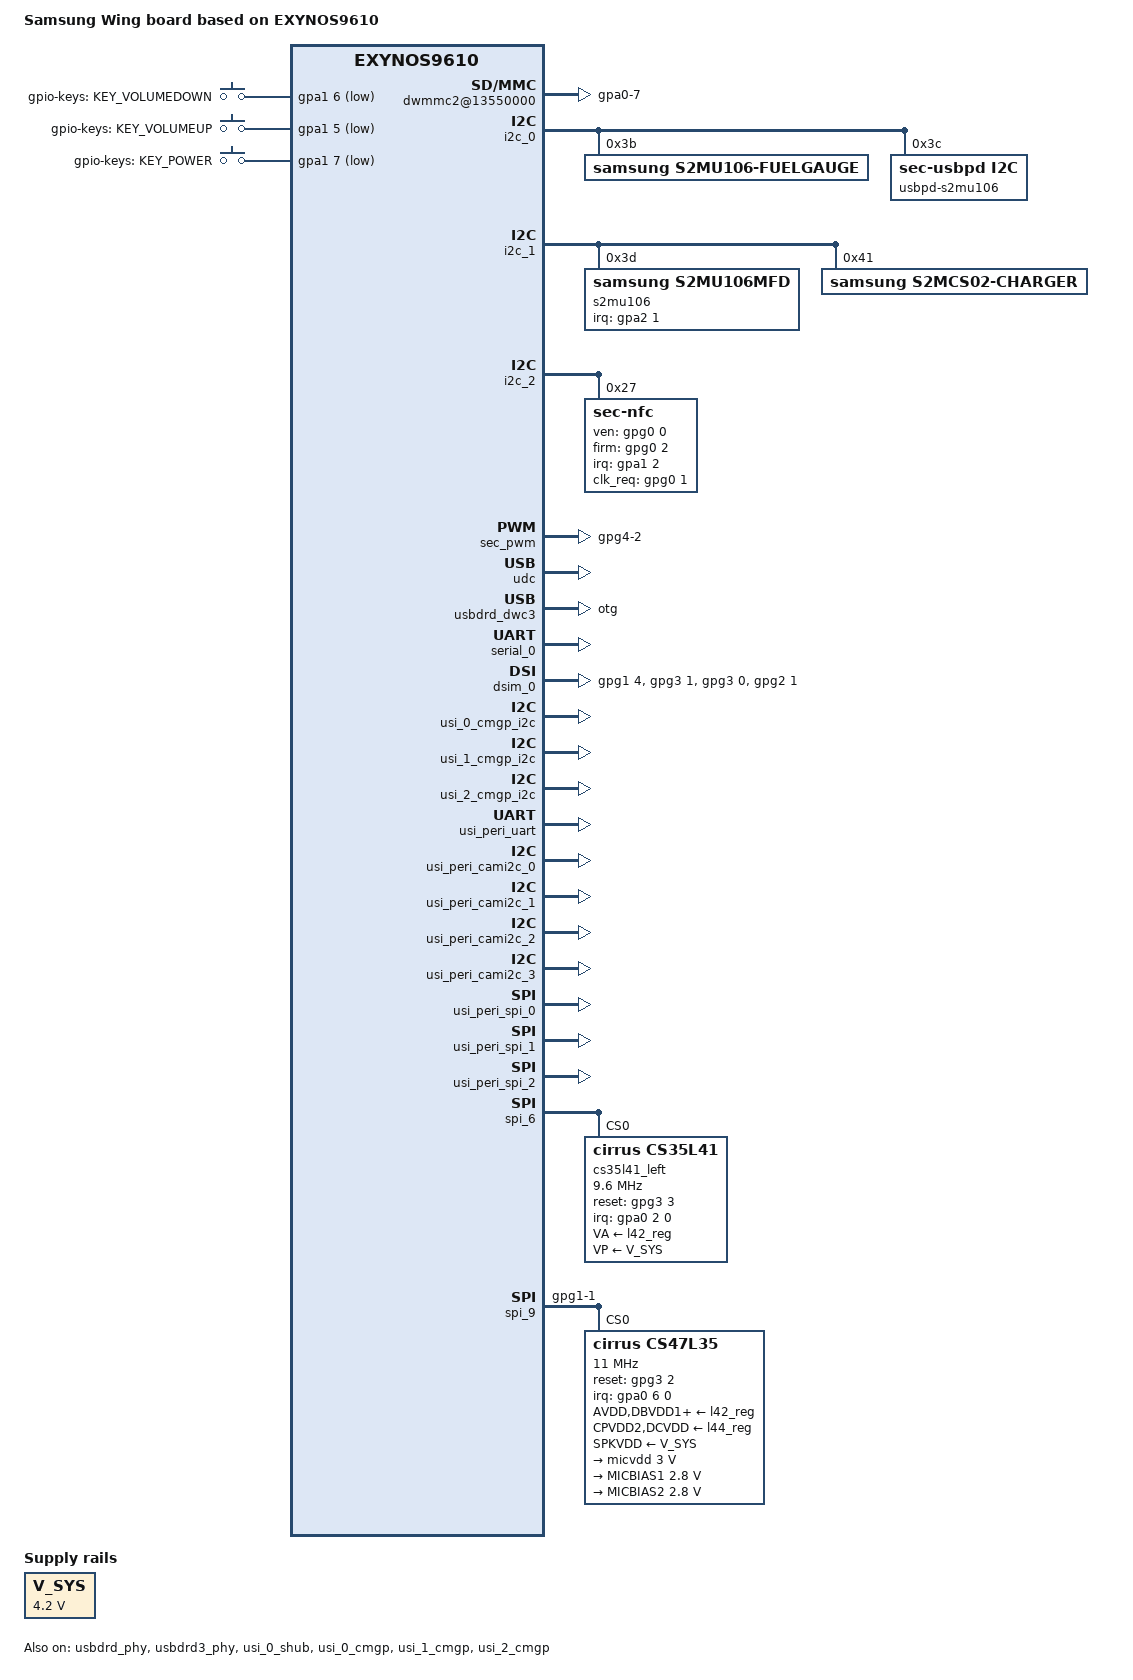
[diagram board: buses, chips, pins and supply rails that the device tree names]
/*
 * SAMSUNG EXYNOS9610 board device tree source
 *
 * Copyright (c) 2017 Samsung Electronics Co., Ltd.
 *		http://www.samsung.com
 *
 * This program is free software; you can redistribute it and/or modify
 * it under the terms of the GNU General Public License version 2 as
 * published by the Free Software Foundation.
 */

/dts-v1/;
/plugin/;

#include "exynos9610_battery_data.dtsi"
#include <dt-bindings/clock/exynos9610.h>
#include "modem-ss360ap-sit-pdata.dtsi"
#include "exynos9610-display-lcd.dtsi"
#include "novatek-nt36xxx-i2c.dtsi"
#include "wing-sensor.dtsi"

/ {
	compatible = "samsung,exynos9610", "samsung,WING";
	board_id = <0x0>;
	board_rev = <0x0>;

	fragment@model {
		target-path = "/";
		__overlay__ {
			#address-cells = <2>;
			#size-cells = <1>;
			model = "Samsung Wing board based on EXYNOS9610";

			ect {
				parameter_address = <0x90000000>;
				parameter_size = <0x19000>;
			};

			chosen {
				bootargs = "console=ram skip_initramfs rootwait ro init=/init clk_ignore_unused bcm_setup=0xffffff80f8e00000 androidboot.hardware=exynos9610 androidboot.selinux=permissive androidboot.debug_level=0x4948 firmware_class.path=/vendor/firmware ecd_setup=disable reserve-fimc=0xffffff80fa000000 pmic_info=0x3 ccic_info=0x1 epx_activate=true ";
				linux,initrd-start = <0x84000000>;
				linux,initrd-end = <0x841FFFFF>;
			};

			fixed-rate-clocks {
				oscclk {
					compatible = "samsung,exynos9610-oscclk";
					clock-frequency = <26000000>;
				};
			};

			firmware {
				android {
					compatible = "android,firmware";
					vbmeta {
						compatible = "android,vbmeta";
						parts = "vbmeta,boot,system,vendor";
					};
					fstab {
						compatible = "android,fstab";
						vendor {
							compatible = "android,vendor";
							dev = "/dev/block/platform/13520000.ufs/by-name/vendor";
							type = "ext4";
							mnt_flags = "ro";
							fsmgr_flags = "wait,avb,slotselect";
						};
					};
				};
			};

			ifconn {
				status = "okay";
				compatible = "samsung,ifconn";
				ifconn,usbpd = "s2mm005";
				ifconn,muic = "s2mu106-muic";
			};

			/*Fingerprint start*/
			et320: et320{
				compatible = "egistec,et320";
				status = "ok";
				reg = <0>;
				clocks = <&clock GATE_SPI_1_QCH>, <&clock SPI1>;
				clock-names = "spi", "spi_busclk0";
				pinctrl-names = "default";
				pinctrl-0 = <&spi7_bus &spi7_cs_func>;
				egistec,gpio_irq    = <&gpa0 5 0>;
				egistec,gpio_rst    = <&gpa1 1 0>;
			};
			/*Fingerprint end*/

			speedy@11a10000 {
				status = "okay";
				#address-cells = <1>;
				#size-cells = <0>;
				s2mpu09mfd@00 {
					compatible = "samsung,s2mpu09mfd";
					acpm-ipc-channel = <2>;
					i2c-speedy-address;
					s2mpu09,wakeup = "enabled";
					s2mpu09,irq-gpio = <&gpa2 0 0>;
					reg = <0x00>;
					interrupts = <2 0 0>;
					interrupt-parent = <&gpa2>;
					pinctrl-names = "default";
					pinctrl-0 = <&pmic_irq &pm_wrsti>;
					/* RTC: wtsr/smpl */
					wtsr_en = "enabled"; /* enable */
					smpl_en = "enabled"; /* enable */
					wtsr_timer_val = <3>;	/* 1000ms */
					smpl_timer_val = <4>;	/* 500ms */
					check_jigon = <0>; /* do not check jigon */
					/* RTC: If it's first boot, reset rtc to 1/1/2017 12:00:00(Sun) */
					init_time,sec = <0>;
					init_time,min = <0>;
					init_time,hour = <12>;
					init_time,mday = <1>;
					init_time,mon = <0>;
					init_time,year = <117>;
					init_time,wday = <0>;

					regulators {
						b1_reg: BUCK1 {
							regulator-name = "vdd_mif";
							regulator-min-microvolt = <500000>;
							regulator-max-microvolt = <1100000>;
							regulator-always-on;
							regulator-ramp-delay = <12000>;
							regulator-initial-mode = <2>;
						};

						b2_reg: BUCK2 {
							regulator-name = "vdd_cpucl1";
							regulator-min-microvolt = <500000>;
							regulator-max-microvolt = <1300000>;
							regulator-always-on;
							regulator-ramp-delay = <12000>;
							regulator-initial-mode = <1>;
						};

						b3_reg: BUCK3 {
							regulator-name = "vdd_cpucl0";
							regulator-min-microvolt = <500000>;
							regulator-max-microvolt = <1300000>;
							regulator-always-on;
							regulator-ramp-delay = <12000>;
							regulator-initial-mode = <1>;
						};

						b4_reg: BUCK4{
							regulator-name = "vdd_int";
							regulator-min-microvolt = <500000>;
							regulator-max-microvolt = <1100000>;
							regulator-always-on;
							regulator-ramp-delay = <12000>;
							regulator-initial-mode = <2>;
						};

						b5_reg: BUCK5 {
							regulator-name = "vdd_g3d";
							regulator-min-microvolt = <500000>;
							regulator-max-microvolt = <1200000>;
							regulator-always-on;
							regulator-ramp-delay = <12000>;
							regulator-initial-mode = <2>;
						};

						b6_reg: BUCK6 {
							regulator-name = "vdd_cam_vipx";
							regulator-min-microvolt = <500000>;
							regulator-max-microvolt = <1300000>;
							regulator-always-on;
							regulator-ramp-delay = <12000>;
							regulator-initial-mode = <2>;
						};

						b7_reg: BUCK7 {
							regulator-name = "vdd2_mem";
							regulator-min-microvolt = <500000>;
							regulator-max-microvolt = <1300000>;
							regulator-always-on;
							regulator-ramp-delay = <12000>;
							regulator-initial-mode = <3>;
						};

						b8_reg: BUCK8 {
							regulator-name = "vdd_lldo";
							regulator-min-microvolt = <1200000>;
							regulator-max-microvolt = <1500000>;
							regulator-always-on;
							regulator-ramp-delay = <12000>;
							regulator-initial-mode = <3>;
						};

						b9_reg: BUCK9 {
							regulator-name = "vdd_mldo";
							regulator-min-microvolt = <1800000>;
							regulator-max-microvolt = <2100000>;
							regulator-always-on;
							regulator-ramp-delay = <12000>;
							regulator-initial-mode = <3>;
						};

						l1_reg: LDO1 {
							regulator-name = "vdd_ldo1";
							regulator-min-microvolt = <700000>;
							regulator-max-microvolt = <1300000>;
							regulator-always-on;
							regulator-ramp-delay = <12000>;
							regulator-initial-mode = <3>;
						};

						l2_reg: LDO2 {
							regulator-name = "vqmmc";
							regulator-min-microvolt = <1800000>;
							regulator-max-microvolt = <3375000>;
							regulator-ramp-delay = <12000>;
						};

						l3_reg: LDO3 {
							regulator-name = "vdd_ldo3";
							regulator-min-microvolt = <800000>;
							regulator-max-microvolt = <1950000>;
							regulator-always-on;
							regulator-ramp-delay = <12000>;
							regulator-initial-mode = <3>;
						};

						l4_reg: LDO4 {
							regulator-name = "vdd_ldo4";
							regulator-min-microvolt = <500000>;
							regulator-max-microvolt = <1100000>;
							regulator-always-on;
							regulator-ramp-delay = <12000>;
							regulator-initial-mode = <1>;
						};

						l5_reg: LDO5 {
							regulator-name = "vdd_ldo5";
							regulator-min-microvolt = <800000>;
							regulator-max-microvolt = <1300000>;
							regulator-always-on;
							regulator-ramp-delay = <12000>;
							regulator-initial-mode = <1>;
						};

						l6_reg: LDO6 {
							regulator-name = "vdd_ldo6";
							regulator-min-microvolt = <800000>;
							regulator-max-microvolt = <1300000>;
							regulator-always-on;
							regulator-ramp-delay = <12000>;
							regulator-initial-mode = <1>;
						};

						l7_reg: LDO7 {
							regulator-name = "vdd_ldo7";
							regulator-min-microvolt = <800000>;
							regulator-max-microvolt = <1950000>;
							regulator-always-on;
							regulator-ramp-delay = <12000>;
							regulator-initial-mode = <1>;
						};

						l8_reg: LDO8 {
							regulator-name = "vdd_ldo8";
							regulator-min-microvolt = <500000>;
							regulator-max-microvolt = <1300000>;
							regulator-always-on;
							regulator-ramp-delay = <12000>;
							regulator-initial-mode = <1>;
						};

						l9_reg: LDO9 {
							regulator-name = "vdd_ldo9";
							regulator-min-microvolt = <500000>;
							regulator-max-microvolt = <1300000>;
							regulator-always-on;
							regulator-ramp-delay = <12000>;
							regulator-initial-mode = <1>;
						};

						l10_reg: LDO10 {
							regulator-name = "vdd_ldo10";
							regulator-min-microvolt = <500000>;
							regulator-max-microvolt = <1300000>;
							regulator-always-on;
							regulator-ramp-delay = <12000>;
							regulator-initial-mode = <1>;
						};

						l11_reg: LDO11 {
							regulator-name = "vdd_ldo11";
							regulator-min-microvolt = <500000>;
							regulator-max-microvolt = <1300000>;
							regulator-always-on;
							regulator-ramp-delay = <12000>;
							regulator-initial-mode = <1>;
						};

						l12_reg: LDO12 {
							regulator-name = "vdd_ldo12";
							regulator-min-microvolt = <800000>;
							regulator-max-microvolt = <1300000>;
							regulator-always-on;
							regulator-ramp-delay = <12000>;
							regulator-initial-mode = <1>;
						};

						l13_reg: LDO13 {
							regulator-name = "vdd_ldo13";
							regulator-min-microvolt = <800000>;
							regulator-max-microvolt = <1950000>;
							regulator-always-on;
							regulator-ramp-delay = <12000>;
							regulator-initial-mode = <1>;
						};

						l14_reg: LDO14 {
							regulator-name = "vdd_ldo14";
							regulator-min-microvolt = <1800000>;
							regulator-max-microvolt = <3375000>;
							regulator-always-on;
							regulator-ramp-delay = <12000>;
							regulator-initial-mode = <1>;
						};

						l33_reg: LDO33 {
							regulator-name = "vdd_ldo33";
							regulator-min-microvolt = <800000>;
							regulator-max-microvolt = <1950000>;
							regulator-ramp-delay = <12000>;
						};

						l34_reg: LDO34 {
							regulator-name = "vdd_ldo34";
							regulator-min-microvolt = <1800000>;
							regulator-max-microvolt = <3375000>;
							regulator-ramp-delay = <12000>;
						};

						l35_reg: LDO35 {
							regulator-name = "vmmc";
							regulator-min-microvolt = <1800000>;
							regulator-max-microvolt = <3375000>;
							regulator-ramp-delay = <12000>;
						};

						l36_reg: LDO36 {
							regulator-name = "vdd_ldo36";
							regulator-min-microvolt = <500000>;
							regulator-max-microvolt = <1300000>;
							regulator-always-on;
							regulator-ramp-delay = <12000>;
							regulator-initial-mode = <1>;
						};

						l37_reg: LDO37 {
						        regulator-name = "vdd_ldo37";
					                regulator-min-microvolt = <3300000>;
					                regulator-max-microvolt = <3300000>;
					                regulator-ramp-delay = <12000>;
					                regulator-always-on;
						};

						l38_reg: LDO38 {
							regulator-name = "vdd_ldo38";
							regulator-min-microvolt = <1800000>;
							regulator-max-microvolt = <3375000>;
							regulator-ramp-delay = <12000>;
							regulator-always-on;
						};

						l39_reg: LDO39 {
							regulator-name = "vdd_ldo39";
							regulator-min-microvolt = <800000>;
							regulator-max-microvolt = <1950000>;
							regulator-ramp-delay = <12000>;
							regulator-always-on;
						};

						l40_reg: LDO40 {
							regulator-name = "vdd_ldo40";
							regulator-min-microvolt = <1800000>;
							regulator-max-microvolt = <3375000>;
							regulator-ramp-delay = <12000>;
							regulator-initial-mode = <3>;
							regulator-always-on;
						};

						l41_reg: LDO41 {
							regulator-name = "vdd_ldo41";
							regulator-min-microvolt = <1800000>;
							regulator-max-microvolt = <3375000>;
							regulator-ramp-delay = <12000>;
						};

						l42_reg: LDO42 {
							regulator-name = "vdd_ldo42";
							regulator-min-microvolt = <800000>;
							regulator-max-microvolt = <1950000>;
							regulator-ramp-delay = <12000>;
							regulator-always-on;
						};

						l43_reg: LDO43 {
							regulator-name = "vdd_ldo43";
							regulator-min-microvolt = <500000>;
							regulator-max-microvolt = <1300000>;
							regulator-always-on;
							regulator-ramp-delay = <12000>;
							regulator-initial-mode = <1>;
						};

						l44_reg: LDO44 {
							regulator-name = "vdd_ldo44";
							regulator-min-microvolt = <800000>;
							regulator-max-microvolt = <1300000>;
							regulator-ramp-delay = <12000>;
							regulator-always-on;
						};
					};
				};
			};


			exynos_rgt {
				compatible = "samsung,exynos-rgt";
			};

			mailbox_cp: mcu_ipc@11920000 {
				compatible = "samsung,exynos-shd-ipc-mailbox";
				reg = <0x0 0x11920000 0x180>;
				mcu,name = "mcu_ipc_cp";
				mcu,id = <0>;
				interrupts = <0 40 0 >;
			};

			mailbox_gnss: mcu_ipc@11A00000 {
				compatible = "samsung,exynos-shd-ipc-mailbox";
				reg = <0x0 0x11A00000 0x180>;
				mcu,name = "mcu_ipc_gnss";
				mcu,id = <1>;
				interrupts = <0 43 0>; /* INTREQ__MAILBOX_GNSS2AP */
			};

			gnss_pdata {
				status = "okay";

				compatible = "samsung,gnss_shdmem_if";
				shmem,name = "KEPLER";
				shmem,device_node_name = "gnss_ipc";

				/* INTREQ__ALIVE_GNSS_ACTIVE, INTREQ__GNSS2AP_WDOG_RESET, INTREQ__GNSS2AP_WAKEUP, INTREQ__GNSS2AP */
				interrupts = <0 27 0>, <0 81 0>, <0 80 0>, <0 79 0>;
				interrupt-names = "ACTIVE", "WATCHDOG", "WAKEUP", "REQ_INIT";

				memory-region = <&gnss_reserved>;
				mbox_info = <&mailbox_gnss>;

				mbx,int_ap2gnss_bcmd = <0>;
				mbx,int_ap2gnss_req_fault_info = <1>;
				mbx,int_ap2gnss_ipc_msg = <2>;
				mbx,int_ap2gnss_ack_wake_set = <3>;
				mbx,int_ap2gnss_ack_wake_clr = <4>;

				mbx,irq_gnss2ap_bcmd = <0>;
				mbx,irq_gnss2ap_rsp_fault_info = <1>;
				mbx,irq_gnss2ap_ipc_msg = <2>;
				mbx,irq_gnss2ap_req_wake_clr = <4>;

				mbx,reg_bcmd_ctrl = <0>, <1>, <2>, <3>;

				reg_rx_ipc_msg = <1 5>;
				reg_tx_ipc_msg = <1 4>;
				reg_rx_head = <1 3>;
				reg_rx_tail = <1 2>;
				reg_tx_head = <1 1>;
				reg_tx_tail = <1 0>;
				fault_info = <1 0x200000 0x180000>;

				shmem,ipc_offset = <0x380000>;
				shmem,ipc_size = <0x80000>;
				shmem,ipc_reg_cnt = <32>;
			};

			gpio_keys {
				status = "okay";
				compatible = "gpio-keys";
				#address-cells = <1>;
				#size-cells = <0>;
				pinctrl-names = "default";
				pinctrl-0 = <&key_voldown &key_volup &key_power>;
				button@1 {
					label = "gpio-keys: KEY_VOLUMEDOWN";
					linux,code = <114>;
					gpios = <&gpa1 6 0xf>;
				};
				button@2 {
					label = "gpio-keys: KEY_VOLUMEUP";
					linux,code = <115>;
					gpios = <&gpa1 5 0xf>;
				};
				button@3 {
					label = "gpio-keys: KEY_POWER";
					linux,code = <116>;
					gpios = <&gpa1 7 0xf>;
					gpio-key,wakeup = <1>;
				};
			};

			dwmmc2@13550000 {
				status = "okay";
				num-slots = <1>;
				supports-4bit;
				supports-cmd23;
				supports-erase;
				supports-highspeed;
				sd-uhs-sdr50;
				sd-uhs-sdr104;
				card-detect-invert;
				card-detect-gpio;
				bypass-for-allpass;
				card-init-hwacg-ctrl;
				skip-init-mmc-scan;
				qos-dvfs-level = <100000>;
				fifo-depth = <0x40>;
				desc-size = <4>;
				card-detect-delay = <200>;
				data-timeout = <200>;
				hto-timeout = <80>;
				samsung,dw-mshc-ciu-div = <3>;
				clock-frequency = <800000000>;
				samsung,dw-mshc-sdr-timing = <3 0 2 0>;
				samsung,dw-mshc-ddr-timing = <3 0 2 1>;
				samsung,dw-mshc-sdr50-timing = <3 0 4 2>;
				samsung,dw-mshc-sdr104-timing = <3 0 3 0>;

				num-ref-clks = <9>;
				ciu_clkin = <25 50 50 25 50 100 200 50 50>;

				/* Swapping clock drive strength */
				clk-drive-number = <4>;
				pinctrl-names = "default",
					"fast-slew-rate-1x",
					"fast-slew-rate-2x",
					"fast-slew-rate-3x",
					"fast-slew-rate-4x";
				pinctrl-0 = <&sd2_clk &sd2_cmd &sd2_bus1 &sd2_bus4 &dwmmc2_cd_ext_irq>;
				pinctrl-1 = <&sd2_clk_fast_slew_rate_1x>;
				pinctrl-2 = <&sd2_clk_fast_slew_rate_2x>;
				pinctrl-3 = <&sd2_clk_fast_slew_rate_3x>;
				pinctrl-4 = <&sd2_clk_fast_slew_rate_4x>;

				card-detect = <&gpa0 7 0xf>;
				#address-cells = <1>;
				#size-cells = <0>;
				slot@0 {
					reg = <0>;
					bus-width = <4>;
					disable-wp;
				};
			};

			usb_notifier {
				compatible = "samsung,usb-notifier";
				udc = <&udc>;
			};

			usb_hs_tune:usb_hs_tune {
				hs_tune_cnt = <12>;

				/* value = <device host> */
				hs_tune1 {
					tune_name = "tx_vref";
					tune_value = <0xf 0xf>;
				};

				hs_tune2 {
					tune_name = "tx_pre_emp";
					tune_value = <0x3 0x3>;
				};

				hs_tune3 {
					tune_name = "tx_pre_emp_plus";
					tune_value = <0x0 0x0>;
				};

				hs_tune4 {
					tune_name = "tx_res";
					tune_value = <0x3 0x3>;
				};

				hs_tune5 {
					tune_name = "tx_rise";
					tune_value = <0x3 0x3>;
				};

				hs_tune6 {
					tune_name = "tx_hsxv";
					tune_value = <0x3 0x3>;
				};

				hs_tune7 {
					tune_name = "tx_fsls";
					tune_value = <0x3 0x3>;
				};

				hs_tune8 {
					tune_name = "rx_sqrx";
					tune_value = <0x7 0x7>;
				};

				hs_tune9 {
					tune_name = "compdis";
					tune_value = <0x7 0x7>;
				};

				hs_tune10 {
					tune_name = "otg";
					tune_value = <0x2 0x2>;
				};

				hs_tune11 {
				/* true : 1, false: 0 */
				/* <enable_user_imp user_imp_value> */
					tune_name = "enable_user_imp";
					tune_value = <0x0 0x0>;
				};

				hs_tune12 {
				/* PHY clk : 1 , FREE clk : 0 */
					tune_name = "is_phyclock";
					tune_value = <0x1 0x1>;
				};
			};

			usb3_ss_tune:ss_tune {
				ss_tune_cnt = <15>;

				/* value = <device host> */
				ss_tune1 {
					tune_name = "tx0_term_offset";
					tune_value = <0x0 0x0>;
				};

				ss_tune2 {
					tune_name = "pcs_tx_swing_full";
					tune_value = <0x7f 0x7f>;
				};

				ss_tune3 {
					tune_name = "pcs_tx_deemph_6db";
					tune_value = <0x1c 0x1c>;
				};

				ss_tune4 {
					tune_name = "pcs_tx_deemph_3p5db";
					tune_value = <0x1c 0x1c>;
				};

				ss_tune5 {
					tune_name = "tx_vboost_lvl_sstx";
					tune_value = <0x7 0x7>;
				};

				ss_tune6 {
					tune_name = "tx_vboost_lvl";
					tune_value = <0x4 0x4>;
				};

				ss_tune7 {
					tune_name = "los_level";
					tune_value = <0x9 0x9>;
				};

				ss_tune8 {
					tune_name = "los_bias";
					tune_value = <0x5 0x5>;
				};

				ss_tune9 {
					tune_name = "pcs_rx_los_mask_val";
					tune_value = <0x104 0x104>;
				};

				ss_tune10 {
					tune_name = "tx_eye_height_cntl_en";
					tune_value = <0x1 0x1>;
				};

				ss_tune11 {
					tune_name = "pipe_tx_deemph_update_delay";
					tune_value = <0x2 0x2>;
				};

				ss_tune12 {
					tune_name = "pcs_tx_swing_full_sstx";
					tune_value = <0x7f 0x7f>;
				};
				ss_tune13 {
					tune_name = "rx_eq_fix_val";
					tune_value = <0x2 0x2>;
				};

				ss_tune14 {
					tune_name = "rx_decode_mode";
					tune_value = <0x1 0x1>;
				};

				ss_tune15 {
					tune_name = "decrese_ss_tx_imp";
					tune_value = <0x1 0x1>;
				};
			};

			usb3_hs_tune:usb3_hs_tune {
				hs_tune_cnt = <10>;

				/* value = <device host> */
				hs_tune1 {
					tune_name = "tx_pre_emp";
					tune_value = <0x3 0x3>;
				};

				hs_tune2 {
					tune_name = "tx_pre_emp_plus";
					tune_value = <0x0 0x0>;
				};

				hs_tune3 {
					tune_name = "tx_vref";
					tune_value = <0x7 0x7>;
				};

				hs_tune4 {
					tune_name = "rx_sqrx";
					tune_value = <0x7 0x7>;
				};

				hs_tune5 {
					tune_name = "tx_rise";
					tune_value = <0x3 0x3>;
				};

				hs_tune6 {
					tune_name = "compdis";
					tune_value = <0x7 0x7>;
				};

				hs_tune7 {
					tune_name = "tx_hsxv";
					tune_value = <0x3 0x3>;
				};

				hs_tune8 {
					tune_name = "tx_fsls";
					tune_value = <0x3 0x3>;
				};

				hs_tune9 {
					tune_name = "tx_res";
					tune_value = <0x3 0x3>;
				};

				hs_tune10 {
					tune_name = "utim_clk";
					tune_value = <0x1 0x1>;
				};
			};

			/* Secure RPMB */
			ufs-srpmb {
				compatible = "samsung,ufs-srpmb";
				interrupts = <0 460 0>;
			};

			V_SYS: fixedregulator@0 {
				compatible = "regulator-fixed";
				regulator-name = "V_SYS";
				regulator-min-microvolt = <4200000>;
				regulator-max-microvolt = <4200000>;
				regulator-boot-on;
				regulator-always-on;
			};


			dummy_audio_codec: audio_codec_dummy {
				status = "okay";
				compatible = "snd-soc-dummy";
			};

			dummy_audio_cpu: audio_cpu_dummy {
				compatible = "samsung,dummy-cpu";
				status = "okay";
			};

			sound {
				status = "okay";
				compatible = "samsung,exynos9610-madera";

				clock-names = "xclkout";
				clocks = <&clock OSC_AUD>;
				pinctrl-names = "default";
				pinctrl-0 = <&xclkout0>;

				cirrus,sysclk = <1 4 98304000>;
				cirrus,dspclk = <8 4 147456000>;
				cirrus,fll1-refclk = <1 0 26000000 98304000>;

				cirrus,opclk = <3 0 12288000>;

				samsung,routing =
					"HEADSETMIC", "MICBIAS1B",
					"IN1BR", "HEADSETMIC",
					"DMIC1", "MICBIAS2A",
					"IN1AL", "DMIC1",
					"DMIC2", "MICBIAS2A",
					"IN2L", "DMIC2",
					"DMIC3", "MICBIAS2B",
					"IN2R", "DMIC3",
					"RECEIVER", "EPOUTN",
					"RECEIVER", "EPOUTP",
					"HEADPHONE", "HPOUTL",
					"HEADPHONE", "HPOUTR",
					"AIF2 Playback", "OPCLK",
					"AIF2 Capture", "OPCLK",
					"VOUTPUT", "ABOX UAIF0 Playback",
					"SPEAKER", "Left SPK",
					"VOUTPUTCALL", "ABOX SIFS0 Playback",
					"ABOX SIFS0 Capture", "VINPUTCALL";

				samsung,codec = <&abox &abox_uaif_0 &abox_uaif_1 &abox_uaif_2
					&abox_uaif_4 &abox_dsif &abox_spdy &cs35l41_left>;
				samsung,prefix = "ABOX", "ABOX", "ABOX", "ABOX",
					"ABOX", "ABOX", "ABOX", "SPK";
				samsung,aux = <&abox_effect &abox_bt>;

				rdma@0 {
					cpu {
						sound-dai = <&abox 0>;
					};
					platform {
						sound-dai = <&abox_rdma_0>;
					};
					codec {
						sound-dai = <&dummy_audio_codec>;
					};
				};
				rdma@1 {
					cpu {
						sound-dai = <&abox 1>;
					};
					platform {
						sound-dai = <&abox_rdma_1>;
					};
					codec {
						sound-dai = <&dummy_audio_codec>;
					};
				};
				rdma@2 {
					cpu {
						sound-dai = <&abox 2>;
					};
					platform {
						sound-dai = <&abox_rdma_2>;
					};
					codec {
						sound-dai = <&dummy_audio_codec>;
					};
				};
				rdma@3 {
					cpu {
						sound-dai = <&abox 3>;
					};
					platform {
						sound-dai = <&abox_rdma_3>;
					};
					codec {
						sound-dai = <&dummy_audio_codec>;
					};
				};
				rdma@4 {
					cpu {
						sound-dai = <&abox 4>;
					};
					platform {
						sound-dai = <&abox_rdma_4>;
					};
					codec {
						sound-dai = <&dummy_audio_codec>;
					};
				};
				rdma@5 {
					cpu {
						sound-dai = <&abox 5>;
					};
					platform {
						sound-dai = <&abox_rdma_5>;
					};
					codec {
						sound-dai = <&dummy_audio_codec>;
					};
				};
				rdma@6 {
					cpu {
						sound-dai = <&abox 6>;
					};
					platform {
						sound-dai = <&abox_rdma_6>;
					};
					codec {
						sound-dai = <&dummy_audio_codec>;
					};
				};
				rdma@7 {
					cpu {
						sound-dai = <&abox 7>;
					};
					platform {
						sound-dai = <&abox_rdma_7>;
					};
					codec {
						sound-dai = <&dummy_audio_codec>;
					};
				};
				wdma@0 {
					cpu {
						sound-dai = <&abox 8>;
					};
					platform {
						sound-dai = <&abox_wdma_0>;
					};
					codec {
						sound-dai = <&dummy_audio_codec>;
					};
				};
				wdma@1 {
					cpu {
						sound-dai = <&abox 9>;
					};
					platform {
						sound-dai = <&abox_wdma_1>;
					};
					codec {
						sound-dai = <&dummy_audio_codec>;
					};
				};
				wdma@2 {
					cpu {
						sound-dai = <&abox 10>;
					};
					platform {
						sound-dai = <&abox_wdma_2>;
					};
					codec {
						sound-dai = <&dummy_audio_codec>;
					};
				};
				wdma@3 {
					cpu {
						sound-dai = <&abox 11>;
					};
					platform {
						sound-dai = <&abox_wdma_3>;
					};
					codec {
						sound-dai = <&dummy_audio_codec>;
					};
				};
				wdma@4 {
					cpu {
						sound-dai = <&abox 12>;
					};
					platform {
						sound-dai = <&abox_wdma_4>;
					};
					codec {
						sound-dai = <&dummy_audio_codec>;
					};
				};
		/** ToDo: enable dp_audio link after enabling DP Audio
		 *		dp_audio@0 {
		 *			cpu {
		 *				sound-dai = <&dummy_audio_cpu>;
		 *			};
		 *			codec {
		 *				sound-dai = <&dummy_audio_codec>;
		 *			};
		 *		};
		 */
				uaif@0 {
					format = "i2s";
					cpu {
						sound-dai = <&abox_uaif_0>;
					};
					codec {
						sound-dai = <&cs47l35 0>;
					};
				};
				uaif@1 {
					format = "i2s";
					cpu {
						sound-dai = <&abox_uaif_1>;
					};
					codec {
						sound-dai = <&dummy_audio_codec>;
					};
				};
				uaif@2 {
					format = "i2s";
					cpu {
						sound-dai = <&abox_uaif_2>;
					};
					codec {
						sound-dai = <&cs47l35 2>;
					};
				};
				uaif@4 {
					format = "i2s";
					bitclock-master;
					frame-master;
					cpu {
						sound-dai = <&abox_uaif_4>;
					};
					codec {
						sound-dai = <&dummy_audio_codec>;
					};
				};
				dsif@0 {
					format = "pdm";
					cpu {
						sound-dai = <&abox_dsif>;
					};
					codec {
						sound-dai = <&dummy_audio_codec>;
					};
				};
				spdy@0 {
					cpu {
						sound-dai = <&abox_spdy>;
					};
					codec {
						sound-dai = <&dummy_audio_codec>;
					};
				};
				sifs0@0 {
					cpu {
						sound-dai = <&abox 13>;
					};
					codec {
						sound-dai = <&dummy_audio_codec>;
					};
				};
				sifs1@0 {
					cpu {
						sound-dai = <&abox 14>;
					};
					codec {
						sound-dai = <&dummy_audio_codec>;
					};
				};
				sifs2@0 {
					cpu {
						sound-dai = <&abox 15>;
					};
					codec {
						sound-dai = <&dummy_audio_codec>;
					};
				};

				codec-left-amp@0 {
					format = "i2s";

					cpu {
						sound-dai = <&cs47l35 1>;
					};
					codec {
						sound-dai = <&cs35l41_left 0>;
					};
				};

				cpu-dsp-voice-control@0 {
					cpu {
						sound-dai = <&cs47l35 3>;
					};
					codec {
						sound-dai = <&dummy_audio_codec>;
					};
				};

				cpu-dsp-trace@0 {
					cpu {
						sound-dai = <&cs47l35 4>;
					};
					codec {
						sound-dai = <&dummy_audio_codec>;
					};
				};

				cpu-dsp2-text@0 {
					cpu {
						sound-dai = <&cs47l35 5>;
					};
					codec {
						sound-dai = <&dummy_audio_codec>;
					};
				};

				cpu-dsp3-text@0 {
					cpu {
						sound-dai = <&cs47l35 6>;
					};
					codec {
						sound-dai = <&dummy_audio_codec>;
					};
				};

				cpu-dsp1-text@0 {
					cpu {
						sound-dai = <&cs47l35 7>;
					};
					codec {
						sound-dai = <&dummy_audio_codec>;
					};
				};
			};


#if 0
			fimc_is@144B0000 {
				vender {
					rear_sensor_id = <47>; /* 46: RPB, 20: 2P8, 47: 2P7SQ */
					front_sensor_id = <7>; /* 6B2 */
					rear_second_sensor_id = <48>; /* 48: 2T7SX  */
					secure_sensor_id = <22>; /* 5E2 */
				};

				fimc_is_dvfs {
					#define DVFS_INT_CAM_L0 690000
					#define DVFS_INT_CAM_L1 680000
					#define DVFS_INT_CAM_L2 670000
					#define DVFS_INT_CAM_L3 660000
					#define DVFS_INT_CAM_L4 650000

					#define DVFS_INT_L0 667000
					#define DVFS_INT_L1 533000
					#define DVFS_INT_L2 400000
					#define DVFS_INT_L3 200000
					#define DVFS_INT_L4 100000

					#define DVFS_CAM_L0 690000
					#define DVFS_CAM_L1 680000
					#define DVFS_CAM_L2 670000
					#define DVFS_CAM_L3 660000
					#define DVFS_CAM_L4 650000
					#define DVFS_CAM_L5 640000

					#define DVFS_MIF_L0 2093000
					#define DVFS_MIF_L1 2002000
					#define DVFS_MIF_L2 1794000
					#define DVFS_MIF_L3 1539000
					#define DVFS_MIF_L4 1352000
					#define DVFS_MIF_L5 1014000
					#define DVFS_MIF_L6 845000
					#define DVFS_MIF_L7 676000
					#define DVFS_MIF_L8 546000
					#define DVFS_MIF_L9 419000

					table0 {
						desc = "dvfs table v0.0 for 16M/2M";

						default_int_cam = <DVFS_INT_CAM_L0>;
						default_cam = <DVFS_CAM_L0>;
						default_mif = <DVFS_MIF_L0>;
						default_int = <DVFS_INT_L0>;
						default_hpg = <1>;

						front_preview_int_cam = <DVFS_INT_CAM_L0>;
						front_preview_cam = <DVFS_CAM_L0>;
						front_preview_mif = <DVFS_MIF_L0>;
						front_preview_int = <DVFS_INT_L0>;
						front_preview_hpg = <1>;

						front_preview_full_int_cam = <DVFS_INT_CAM_L0>;
						front_preview_full_cam = <DVFS_CAM_L0>;
						front_preview_full_mif = <DVFS_MIF_L0>;
						front_preview_full_int = <DVFS_INT_L0>;
						front_preview_full_hpg = <1>;

						front_capture_int_cam = <DVFS_INT_CAM_L0>;
						front_capture_cam = <DVFS_CAM_L0>;
						front_capture_mif = <DVFS_MIF_L0>;
						front_capture_int = <DVFS_INT_L0>;
						front_capture_hpg = <1>;

						front_video_int_cam = <DVFS_INT_CAM_L0>;
						front_video_cam = <DVFS_CAM_L0>;
						front_video_mif = <DVFS_MIF_L0>;
						front_video_int = <DVFS_INT_L0>;
						front_video_hpg = <1>;

						front_video_capture_int_cam = <DVFS_INT_CAM_L0>;
						front_video_capture_cam = <DVFS_CAM_L0>;
						front_video_capture_mif = <DVFS_MIF_L0>;
						front_video_capture_int = <DVFS_INT_L0>;
						front_video_capture_hpg = <1>;

						front_wide_selfie_int_cam = <DVFS_INT_CAM_L0>;
						front_wide_selfie_cam = <DVFS_CAM_L0>;
						front_wide_selfie_mif = <DVFS_MIF_L0>;
						front_wide_selfie_int = <DVFS_INT_L0>;
						front_wide_selfie_hpg = <1>;

						front_vt1_int_cam = <DVFS_INT_CAM_L0>;
						front_vt1_cam = <DVFS_CAM_L0>;
						front_vt1_mif = <DVFS_MIF_L0>;
						front_vt1_int = <DVFS_INT_L0>;
						front_vt1_hpg = <1>;

						front_vt2_int_cam = <DVFS_INT_CAM_L0>;
						front_vt2_cam = <DVFS_CAM_L0>;
						front_vt2_mif = <DVFS_MIF_L0>;
						front_vt2_int = <DVFS_INT_L0>;
						front_vt2_hpg = <1>;

						front_vt4_int_cam = <DVFS_INT_CAM_L0>;
						front_vt4_cam = <DVFS_CAM_L0>;
						front_vt4_mif = <DVFS_MIF_L0>;
						front_vt4_int = <DVFS_INT_L0>;
						front_vt4_hpg = <1>;

						rear_preview_fhd_int_cam = <DVFS_INT_CAM_L0>;
						rear_preview_fhd_cam = <DVFS_CAM_L0>;
						rear_preview_fhd_mif = <DVFS_MIF_L0>;
						rear_preview_fhd_int = <DVFS_INT_L0>;
						rear_preview_fhd_hpg = <1>;

						rear_preview_hd_int_cam = <DVFS_INT_CAM_L0>;
						rear_preview_hd_cam = <DVFS_CAM_L0>;
						rear_preview_hd_mif = <DVFS_MIF_L0>;
						rear_preview_hd_int = <DVFS_INT_L0>;
						rear_preview_hd_hpg = <1>;

						rear_preview_uhd_int_cam = <DVFS_INT_CAM_L0>;
						rear_preview_uhd_cam = <DVFS_CAM_L0>;
						rear_preview_uhd_mif = <DVFS_MIF_L0>;
						rear_preview_uhd_int = <DVFS_INT_L0>;
						rear_preview_uhd_hpg = <1>;

						rear_preview_full_int_cam = <DVFS_INT_CAM_L0>;
						rear_preview_full_cam = <DVFS_CAM_L0>;
						rear_preview_full_mif = <DVFS_MIF_L0>;
						rear_preview_full_int = <DVFS_INT_L0>;
						rear_preview_full_hpg = <1>;

						rear_capture_int_cam = <DVFS_INT_CAM_L0>;
						rear_capture_cam = <DVFS_CAM_L0>;
						rear_capture_mif = <DVFS_MIF_L0>;
						rear_capture_int = <DVFS_INT_L0>;
						rear_capture_hpg = <1>;

						rear_video_fhd_int_cam = <DVFS_INT_CAM_L0>;
						rear_video_fhd_cam = <DVFS_CAM_L0>;
						rear_video_fhd_mif = <DVFS_MIF_L0>;
						rear_video_fhd_int = <DVFS_INT_L0>;
						rear_video_fhd_hpg = <1>;

						rear_video_hd_int_cam = <DVFS_INT_CAM_L0>;
						rear_video_hd_cam = <DVFS_CAM_L0>;
						rear_video_hd_mif = <DVFS_MIF_L0>;
						rear_video_hd_int = <DVFS_INT_L0>;
						rear_video_hd_hpg = <1>;

						rear_video_uhd_int_cam = <DVFS_INT_CAM_L0>;
						rear_video_uhd_cam = <DVFS_CAM_L0>;
						rear_video_uhd_mif = <DVFS_MIF_L0>;
						rear_video_uhd_int = <DVFS_INT_L0>;
						rear_video_uhd_hpg = <1>;

						rear_video_fhd_capture_int_cam = <DVFS_INT_CAM_L0>;
						rear_video_fhd_capture_cam = <DVFS_CAM_L0>;
						rear_video_fhd_capture_mif = <DVFS_MIF_L0>;
						rear_video_fhd_capture_int = <DVFS_INT_L0>;
						rear_video_fhd_capture_hpg = <1>;

						rear_video_hd_capture_int_cam = <DVFS_INT_CAM_L0>;
						rear_video_hd_capture_cam = <DVFS_CAM_L0>;
						rear_video_hd_capture_mif = <DVFS_MIF_L0>;
						rear_video_hd_capture_int = <DVFS_INT_L0>;
						rear_video_hd_capture_hpg = <1>;

						rear_video_uhd_capture_int_cam = <DVFS_INT_CAM_L0>;
						rear_video_uhd_capture_cam = <DVFS_CAM_L0>;
						rear_video_uhd_capture_mif = <DVFS_MIF_L0>;
						rear_video_uhd_capture_int = <DVFS_INT_L0>;
						rear_video_uhd_capture_hpg = <1>;

						secure_front_int_cam = <DVFS_INT_CAM_L0>;
						secure_front_cam = <DVFS_CAM_L0>;
						secure_front_mif = <DVFS_MIF_L0>;
						secure_front_int = <DVFS_INT_L0>;
						secure_front_hpg = <1>;

						pip_preview_int_cam = <DVFS_INT_CAM_L0>;
						pip_preview_cam = <DVFS_CAM_L0>;
						pip_preview_mif = <DVFS_MIF_L0>;
						pip_preview_int = <DVFS_INT_L0>;
						pip_preview_hpg = <1>;

						pip_capture_int_cam = <DVFS_INT_CAM_L0>;
						pip_capture_cam = <DVFS_CAM_L0>;
						pip_capture_mif = <DVFS_MIF_L0>;
						pip_capture_int = <DVFS_INT_L0>;
						pip_capture_hpg = <1>;

						pip_video_int_cam = <DVFS_INT_CAM_L0>;
						pip_video_cam = <DVFS_CAM_L0>;
						pip_video_mif = <DVFS_MIF_L0>;
						pip_video_int = <DVFS_INT_L0>;
						pip_video_hpg = <1>;

						pip_video_capture_int_cam = <DVFS_INT_CAM_L0>;
						pip_video_capture_cam = <DVFS_CAM_L0>;
						pip_video_capture_mif = <DVFS_MIF_L0>;
						pip_video_capture_int = <DVFS_INT_L0>;
						pip_video_capture_hpg = <1>;

						preview_high_speed_fps_int_cam = <DVFS_INT_CAM_L1>;
						preview_high_speed_fps_cam = <DVFS_CAM_L3>;
						preview_high_speed_fps_mif = <DVFS_MIF_L5>;
						preview_high_speed_fps_int = <DVFS_INT_L0>;
						preview_high_speed_fps_hpg = <1>;

						video_high_speed_60fps_int_cam = <DVFS_INT_CAM_L0>;
						video_high_speed_60fps_cam = <DVFS_CAM_L0>;
						video_high_speed_60fps_mif = <DVFS_MIF_L0>;
						video_high_speed_60fps_int = <DVFS_INT_L0>;
						video_high_speed_60fps_hpg = <1>;

						video_high_speed_480fps_int_cam = <DVFS_INT_CAM_L0>;
						video_high_speed_480fps_cam = <DVFS_CAM_L0>;
						video_high_speed_480fps_mif = <DVFS_MIF_L0>;
						video_high_speed_480fps_int = <DVFS_INT_L0>;
						video_high_speed_480fps_hpg = <1>;

						video_high_speed_60fps_capture_int_cam = <DVFS_INT_CAM_L0>;
						video_high_speed_60fps_capture_cam = <DVFS_CAM_L0>;
						video_high_speed_60fps_capture_mif = <DVFS_MIF_L0>;
						video_high_speed_60fps_capture_int = <DVFS_INT_L0>;
						video_high_speed_60fps_capture_hpg = <1>;

						ext_front_int_cam = <DVFS_INT_CAM_L0>;
						ext_front_cam = <DVFS_CAM_L0>;
						ext_front_mif = <DVFS_MIF_L0>;
						ext_front_int = <DVFS_INT_L0>;
						ext_front_hpg = <1>;

						ext_secure_int_cam = <DVFS_INT_CAM_L3>;
						ext_secure_cam = <DVFS_CAM_L4>;
						ext_secure_mif = <DVFS_MIF_L7>;
						ext_secure_int = <DVFS_INT_L4>;
						ext_secure_hpg = <1>;

						max_int_cam = <DVFS_INT_CAM_L0>;
						max_cam = <DVFS_CAM_L0>;
						max_mif = <DVFS_MIF_L0>;
						max_int = <DVFS_INT_L0>;
						max_hpg = <1>;
					};
				};
			};

			fimc_is_flash_gpio: fimc-is-flash-gpio@0 {
				compatible = "samsung,sensor-flash-gpio";
				id = <0>;
				status = "okay";

				torch-gpio = <&gpg3 1 0x1>;
				flash-gpio = <&gpg3 0 0x1>;
			};

			fimc_is_sensor_2p7sq: fimc-is_sensor_2p7sq@47 {
				compatible = "samsung,sensor-module-2p7sq";

				pinctrl-names = "pin0", "pin1", "pin2", "release";
				pinctrl-0 = <>;
				pinctrl-1 = <&fimc_is_mclk0_out>;
				pinctrl-2 = <&fimc_is_mclk0_fn>;
				pinctrl-3 = <>;

				position = <0>;	/* Rear:0. Front:1. Rear_sub:2. Secure:3. */
				id = <0>; /* fimc_is_sensor id */
				mclk_ch = <0>;
				sensor_i2c_ch = <0>; /* SENSOR_CONTROL_I2C0 */

				gpio_mclk = <&gpc2 0 0x1>;
				gpio_reset = <&gpc1 0 0x1>; /* sensor reset */

				power_seq_id = <1>; /* Rumba S6 Compatible */

				status = "okay";

				af {
					product_name = <20>; /* ACTUATOR_NAME_LC898217 */
					i2c_ch = <0>; /* SENSOR_CONTROL_I2C0 */
				};

				flash {
					product_name = <11>; /* FLASH_GPIO */
				};
			};

			fimc_is_sensor_2t7sx: fimc-is_sensor_2t7sx@48 {
				compatible = "samsung,sensor-module-2t7sx";

				pinctrl-names = "pin0", "pin1", "pin2", "release";
				pinctrl-0 = <>;
				pinctrl-1 = <&fimc_is_mclk2_out>;
				pinctrl-2 = <&fimc_is_mclk2_fn>;
				pinctrl-3 = <>;

				position = <2>;	/* Rear:0. Front:1. Rear_sub:2. Secure:3. */
				id = <2>; /* fimc_is_sensor id */
				mclk_ch = <2>;
				sensor_i2c_ch = <1>; /* SENSOR_CONTROL_I2C1 */

				gpio_mclk = <&gpc2 2 0x1>;
				gpio_reset = <&gpc0 6 0x1>; /* sensor reset */

				power_seq_id = <1>; /* Rumba S6 Compatible */

				status = "okay";

				af {
					product_name = <20>; /* ACTUATOR_NAME_LC898217 */
					i2c_ch = <1>; /* SENSOR_CONTROL_I2C1 */
				};

				flash {
					product_name = <11>; /* FLASH_GPIO */
				};
			};

			/* FRONT CAMERA */
			fimc_is_sensor_6b2: fimc-is_sensor_6b2@7 {
				compatible = "samsung,sensor-module-6b2";

				pinctrl-names = "pin0", "pin1", "pin2", "release";
				pinctrl-0 = <>;
				pinctrl-1 = <&fimc_is_mclk1_out>;
				pinctrl-2 = <&fimc_is_mclk1_fn>;
				pinctrl-3 = <>;

				position = <1>;	/* Rear:0. Front:1. Rear_sub:2. Secure:3. */
				id = <1>; /* fimc_is_sensor id */
				mclk_ch = <1>;
				sensor_i2c_ch = <2>; /* SENSOR_CONTROL_I2C4 */

				gpio_mclk = <&gpc2 1 0x1>;
				gpio_reset = <&gpc1 2 0x1>; /* sensor reset */
				status = "okay";

				af {
					product_name = <100>; /* NOTHING */
					i2c_ch = <2>; /* SENSOR_CONTROL_I2C2 */
				};

				flash {
					product_name = <100>; /* NOTHING */
				};

				ois {
					product_name = <100>; /* NOTHING */
				};

				internal_vc {
					/* DUMMY */
				};
			};

			/* I2C_CAM0 */ /* SENSOR_CONTROL_I2C0 */
			hsi2c_12: hsi2c@138A0000 {
				gpios = <&gpc0 0 0 &gpc0 1 0>;
				status = "okay";
				clock-frequency = <400000>;
				samsung,reset-before-trans;
				samsung,polling-mode;

				fimc-is-2p7sq@2d {
					compatible = "samsung,exynos5-fimc-is-cis-2p7sq";
					reg = <0x2d>; /* 1 bit right shift */
					id = <0>; /* matching fimc_is_sensor id */
					setfile = "setA";
				};

				fimc-is-actuator@72 {
					compatible = "samsung,exynos5-fimc-is-actuator-lc898217";
					reg = <0x72>; /* 1 bit right shift */
					id = <0>; /* matching fimc_is_sensor id */
					place = <0>;
				};
			};

			/* I2C_CAM1 */ /* SENSOR_CONTROL_I2C1 */
			hsi2c_13: hsi2c@138B0000 {
				gpios = <&gpc0 2 0 &gpc0 3 0>;
				status = "okay";
				clock-frequency = <400000>;
				samsung,reset-before-trans;
				samsung,polling-mode;

				fimc-is-2t7sx@10 {
					compatible = "samsung,exynos5-fimc-is-cis-2t7sx";
					reg = <0x10>; /* 1 bit right shift */
					id = <2>; /* matching fimc_is_sensor id */
					setfile = "setA";
				};

				fimc-is-actuator@74 {
					compatible = "samsung,exynos5-fimc-is-actuator-lc898217";
					reg = <0x74>; /* 1 bit right shift */
					id = <2>; /* matching fimc_is_sensor id */
					place = <1>; /* HACK */
				};
			};

			/* I2C_CAM2 */ /* SENSOR_CONTROL_I2C2 */
			hsi2c_14: hsi2c@138C0000 {
				gpios = <&gpc0 4 0 &gpc0 5 0>;
				status = "okay";
				clock-frequency = <400000>;
				samsung,reset-before-trans;

				fimc-is-6b2@35 {
					compatible = "samsung,exynos5-fimc-is-cis-6b2";
					reg = <0x35>; /* 1 bit right shift */
					id = <1>; /* matching fimc_is_sensor id */
					setfile = "setA";
				};
			};

			/* I2C_CAM3 */ /* SENSOR_CONTROL_I2C3 */
			hsi2c_15: hsi2c@138D0000 {
				gpios = <&gpc0 6 0 &gpc0 7 0>;
				status = "okay";
				clock-frequency = <400000>;
				samsung,reset-before-trans;

				fimc-is-actuator@72 {
					compatible = "samsung,exynos5-fimc-is-actuator-dw9780";
					reg = <0x72>; /* 1 bit right shift */
					id = <0>; /* matching fimc_is_sensor id */
					place = <1>; /* HACK */
				};
			};

			fimc_is_sensor0: fimc_is_sensor@14400000 {
				scenario = <SENSOR_SCENARIO_NORMAL>;	/* Normal, Vision, OIS etc */
				id = <0>;
				csi_ch = <0>;
				dma_ch = <0 0 0 0 0 1 1 1>;
				vc_ch = <0 1 2 3 0 1 2 3>;
				flite_ch = <FLITE_ID_NOTHING>;
				is_bns = <0>;
				/* use_ssvc1_internal; */
				/* use_ssvc2_internal; */
				status = "okay";
			};

			fimc_is_sensor1: fimc_is_sensor@14410000 {
				scenario = <SENSOR_SCENARIO_NORMAL>;	/* Normal, Vision, OIS etc */
				id = <1>;
				csi_ch = <1>;
				dma_ch = <1 1 1 1 1 1 1 1>;
				vc_ch = <0 1 2 3 0 1 2 3>;
				flite_ch = <FLITE_ID_NOTHING>;
				is_bns = <0>;
				status = "okay";
			};

			fimc_is_sensor2: fimc_is_sensor@14420000 {
				scenario = <SENSOR_SCENARIO_NORMAL>;	/* Normal, Vision, OIS etc */
				id = <2>;
				csi_ch = <2>;
				dma_ch = <2 2 2 2>;
				vc_ch = <0 1 2 3>;
				flite_ch = <FLITE_ID_NOTHING>;
				is_bns = <0>;
				status = "okay";
			};

			fimc_is_sensor3: fimc_is_sensor@14430000 {
				scenario = <SENSOR_SCENARIO_SECURE>;	/* Normal, Vision, OIS etc */
				id = <3>;
				csi_ch = <3>;
				dma_ch = <3 3 3 3>;
				vc_ch = <0 1 2 3>;
				flite_ch = <FLITE_ID_NOTHING>;
				is_bns = <0>;
				status = "okay";
			};
#endif
		}; /* end of __overlay__ */
	}; /* end of fragment */
}; /* end of root */

&i2c_0 {
	#address-cells = <1>;
	#size-cells = <0>;
	status = "okay";
	s2mu106-fuelgauge@3B {
		compatible = "samsung,s2mu106-fuelgauge";
		reg = <0x3B>;
		pinctrl-names = "default";
		pinctrl-0 = <&fuel_irq>;
		fuelgauge,fuel_int = <&gpa2 3 0>;
		fuelgauge,fuel_alert_vol = <3400>;
		fuelgauge,fuel_alert_soc = <1>;
		fuelgauge,type_str = "SDI";
		fuelgauge,model_type = <1>;
	};

	usbpd-s2mu106@3C {
		compatible = "sec-usbpd,i2c";
		reg = <0x3C>;
		pinctrl-names = "default";
		pinctrl-0 = <&usbpd_irq>;
		usbpd,usbpd_int = <&gpa2 2 0>;

		pdic-manager {
			/* sink */
			pdic,max_power = <5000>;
			pdic,op_power = <2500>;
			pdic,max_voltage = <6000>;
			pdic,max_current = <2000>;
			pdic,min_current = <500>;

			pdic,giveback = <0>;
			pdic,usb_com_capable = <1>;
			pdic,no_usb_suspend = <1>;

			/* source */
			source,max_voltage = <5000>;
			source,min_voltage = <4000>;
			source,max_power = <2500>;

			/* sink cap */
			sink,capable_max_voltage = <9000>;
		};
	};
};

&i2c_1 {
	#address-cells = <1>;
	#size-cells = <0>;
	status = "okay";
	s2mu106@3d {
		compatible = "samsung,s2mu106mfd";
		reg = <0x3d>;
		pinctrl-names = "default";
		pinctrl-0 = <&if_pmic_irq>;
		s2mu106,irq-gpio = <&gpa2 1 0>;
		s2mu106,wakeup;

		muic {
			status = "okay";
			muic,uart_addr = "11850000.pinctrl";
			muic,uart_rxd = "gpq0-3";
			muic,uart_txd = "gpq0-4";
		};
	};

	s2mu106-haptic {
		status = "okay";
		haptic,pwm_id = <1>;
		haptic,operation_mode = <2>; /* 0 : ERM_I2C, 1 : ERM_GPIO, 2 : LRA */
		haptic,hbst_en;
		haptic,hbst_automode;
		haptic,boost_level = <5000>;
	};

	s2mcs02-charger@41 {
		compatible = "samsung,s2mcs02-charger";
		reg = <0x41>;
		default-clk = <100000000>;
	};

	flash_led {
		/* Change here if you want to use FLED_EN pin
		   fled-en1-gpio = <&gpg1 2 0>;
		   fled-en2-gpio = <&gpg1 2 0>;
		   fled-en3-gpio = <&gpg1 2 0>;
		   fled-en4-gpio = <&gpg1 2 0>;
		 */
		status = "okay";
		default_current = <50>;
		max_current = <200>;
		default_timer = <0>;

		s2mu106-channel1 {
			id = <0>;
			/*
			   current = <100>;
			   timer = <200>;
			*/
		};

		s2mu106-channel2 {
			id = <1>;
			/*
			   current = <100>;
			   timer = <200>;
			*/
		};

		s2mu106-channel3 {
			id = <2>;
			/*
			   current = <100>;
			   timer = <200>;
			*/
		};
	};

	s2mu106-charger {
		status = "okay";
		battery,charger_name = "s2mu106-charger";
		battery,chg_gpio_en = <0>;
		battery,chg_polarity_en = <0>;
		battery,chg_gpio_status = <0>;
		battery,chg_polarity_status = <0>;
		battery,chg_float_voltage = <4350>;
		battery,chg_recharge_vcell = <4250>;
		battery,chg_full_vcell = <4300>;
		battery,full_check_type = <2>;
		battery,full_check_type_2nd = <2>;
		battery,input_current_limit = <
			500 450 500 1200 500 1200 1200 1000 1000 1000
			1000 500 500 1200 1000 500 450>;
		battery,fast_charging_current =	<
			500 450 500 1200 500 1200 1200 1000 1000 1000
			1000 500 500 1200 1000 500 450>;
		battery,full_check_current_1st = <
			300 0 300 300 300 300 300 300 300 300
			300 300 300 300 300 300 0>;
		battery,full_check_current_2nd = <
			100 0 100 100 100 100 100 100 100 100
			100 100 100 100 100 100 0>;
	};
};

&i2c_2 {
	#address-cells = <1>;
	#size-cells = <0>;
	status = "okay";

	sec-nfc@27 {
		compatible = "sec-nfc";
		reg = <0x27>;

		sec-nfc,ven-gpio = <&gpg0 0 0>;
		sec-nfc,firm-gpio = <&gpg0 2 0>;

		sec-nfc,irq-gpio = <&gpa1 2 0>;
		sec-nfc,clk_req-gpio = <&gpg0 1 0>;
		sec-nfc,ldo_en = <&gpm22 0 0>;

		clock-names = "OSC_NFC";
		clocks = <&clock OSC_NFC>;
		pinctrl-names = "default";
		pinctrl-0 = <&xclkout1>;
	};
};

&sec_pwm {
	status = "okay";
	pinctrl-names = "default";
	pinctrl-0 = <&motor_pwm>;
};


&fmp_0 {
	exynos,block-type = "sda";
	exynos,fips-block_offset = <5>;
};

&contexthub_0 {
	/* chub irq pin lists */
	chub-irq-pin = <162>;
	clocks =
		/* SHUB */
		<&clock UMUX_CLKCMU_SHUB_BUS>,
	        /* MAG. SENSOR : AK09918C */
		<&clock CMGP01_USI>,
		/* PROX. SENSOR : TMD3702 */
		<&clock CMGP03_USI>,
		/* ALS SENSOR : BH1726 */
		<&clock CMGP_I2C>;
	clock-names =
		"chub_bus",
		"cmgp_usi01",
		"cmgp_usi03",
		"cmgp_i2c";
};

&pinctrl_0 {
	pmic_irq: pmic-irq {
		samsung,pins = "gpa2-0";
		samsung,pin-pud = <3>;
		samsung,pin-drv = <3>;
	};

	sub_pmic_irq: sub-pmic-irq {
		samsung,pins = "gpa1-3";
		samsung,pin-function = <0>;
		samsung,pin-pud = <0>;
		samsung,pin-drv = <0>;
	};


	key_voldown: key-voldown {
		samsung,pins = "gpa1-6";
		samsung,pin-function = <0xf>;
		samsung,pin-pud = <0>;
		samsung,pin-drv = <0>;
	};

	key_volup: key-volup {
		samsung,pins = "gpa1-5";
		samsung,pin-function = <0xf>;
		samsung,pin-pud = <0>;
		samsung,pin-drv = <0>;
	};

	key_power: key-power {
		samsung,pins = "gpa1-7";
		samsung,pin-function = <0xf>;
		samsung,pin-pud = <0>;
		samsung,pin-drv = <0>;
	};

	dwmmc2_cd_ext_irq: dwmmc2_cd_ext_irq {
		samsung,pins = "gpa0-7";
		samsung,pin-function = <0xf>;
		samsung,pin-pud = <0>;
		samsung,pin-drv = <3>;
	};

	attn_irq: attn-irq {
		samsung,pins = "gpa2-4";
		samsung,pin-function = <0xf>;
		samsung,pin-pud = <0>;
		samsung,pin-drv = <0>;
	};

	attn_input: attn-input {
		samsung,pins = "gpa2-4";
		samsung,pin-function = <0>;
		samsung,pin-pud = <1>;
	};

	if_pmic_irq: if-pmic-irq {
		samsung,pins = "gpa2-1";
		samsung,pin-function = <0>;
		samsung,pin-pud = <0>;
		samsung,pin-drv = <0>;
	};

	fuel_irq: fuel-irq {
		samsung,pins = "gpa2-3";
		samsung,pin-function = <0>;
		samsung,pin-pud = <0>;
		samsung,pin-drv = <0>;
	};

	usbpd_irq: usbpd-irq {
		samsung,pins = "gpa2-2";
		samsung,pin-function = <0xf>;
		samsung,pin-pud = <3>;
		samsung,pin-drv = <3>;
	};
/* TODO: Need to check pin number
	small_charger_irq: small-charger-irq {
		samsung,pins = "gpa2-5";
		samsung,pin-function = <0>;
		samsung,pin-pud = <0>;
		samsung,pin-drv = <0>;
	};
*/
	cap_int_status: cap_int_status {
		samsung,pins = "gpa2-6";
		samsung,pin-function = <0>;
		samsung,pin-val = <1>;
		samsung,pin-pud = <1>;
	};
};

&pinctrl_4 {
	/* Warm reset information from AP */
	pm_wrsti: pm-wrsti {
		samsung,pins = "gpg0-7";
		samsung,pin-con-pdn = <3>;
	};

	motor_pwm: motor_pwm {
		samsung,pins = "gpg4-2";
		samsung,pin-function = <2>;
		samsung,pin-pud = <1>;
		samsung,pin-drv = <0>;
	};

	vdd_on: vdd-on {
		samsung,pins ="gpg3-4";
		samsung,pin-function = <1>;
		samsung,pin-val = <1>;
		samsung,pin-pud = <3>;
	};

	vdd_off: vdd-off {
		samsung,pins ="gpg3-4";
		samsung,pin-function = <0>;
		samsung,pin-val = <0>;
		samsung,pin-pud = <1>;
	};

	codec_reset: codec-reset {
		samsung,pins ="gpg3-2";
		samsung,pin-pud = <0>;
		samsung,pin-con-pdn =<3>;
		samsung,pin-pud-pdn = <0>;
	};

	codec_en: codec_en {
		samsung,pins = "gpg1-1";
		samsung,pin-function = <1>;
		samsung,pin-pud = <3>;
		samsung,pin-val = <1>;
	};
#if 0		/*Should be removed: enable speaker amp on EVB board*/
	amp_sda: amp-sda {
		samsung,pins = "gpp2-2";
		samsung,pin-function = <3>;
		samsung,pin-pud = <3>;
		samsung,pin-drv = <0>;
	};
	amp_scl: amp-scl {
		samsung,pins = "gpp2-1";
		samsung,pin-function = <3>;
		samsung,pin-pud = <3>;
		samsung,pin-drv = <0>;
	};
	amp_ad1: amp-ad1 {
		samsung,pins = "gpp2-0";
		samsung,pin-function = <1>;
		samsung,pin-val = <0>;
		samsung,pin-pud = <1>;
	};
	amp_ad0: amp-ad0 {
		samsung,pins = "gpp2-3";
		samsung,pin-function = <1>;
		samsung,pin-val = <0>;
		samsung,pin-pud = <1>;
	};
#endif
};

&udc {
	status = "okay";
};

&usbdrd_dwc3 {
	dr_mode = "otg";
	maximum-speed = "high-speed";
};

&usbdrd_phy {
	status = "okay";
	usb3phy-isolation = <1>;

	hs_tune_param = <&usb_hs_tune>;
};

&usbdrd3_phy {
	status = "okay";
	usb3phy-isolation = <1>;

	hs_tune_param = <&usb3_hs_tune>;
	ss_tune_param = <&usb3_ss_tune>;
};

&serial_0 {
	status = "okay";
};

&dsim_0 {
	lcd_info = <&nt36672a>;
	/* reset, lcd_bias_enp, lcd_bias_enn, lcd_bl_en*/
	gpios = <&gpg1 4 0x1>, <&gpg3 1 0x1>, <&gpg3 0 0x1>, <&gpg2 1 0x1>;
};

/* USI_0_SHUB */
&usi_0_shub {
	usi_v2_mode = "spi";
	status = "okay";
};

/* USI_SHUB_0_I2C */
&usi_0_shub_i2c {
	/*	usi_v2_mode = "i2c" or "spi" or "uart"	*/
	status = "disabled";
};

/* USI_0_CMGP */
&usi_0_cmgp {
	/*	usi_v2_mode = "i2c" or "spi" or "uart"	*/
	usi_v2_mode = "i2c";
	status = "okay";
};

/* USI_0_CMGP_I2C */
&usi_0_cmgp_i2c {
	usi_v2_mode = "i2c";
	status = "okay";
};

/* USI_1_CMGP */
&usi_1_cmgp {
	usi_v2_mode = "i2c";
	status = "okay";
};

/* USI_1_CMGP_I2C */
&usi_1_cmgp_i2c {
	usi_v2_mode = "i2c";
	status = "okay";
};

/* USI_2_CMGP */
&usi_2_cmgp {
	/*	usi_v2_mode = "i2c" or "spi" or "uart"	*/
	usi_v2_mode = "i2c";
	status = "okay";
};

/* USI_2_CMGP_I2C */
&usi_2_cmgp_i2c {
	usi_v2_mode = "i2c";
	status = "okay";
};

/* USI_3_CMGP */
&usi_3_cmgp {
	/*	usi_v2_mode = "i2c" or "spi" or "uart"	*/
	status = "disabled";
};

/* USI_3_CMGP_I2C */
&usi_3_cmgp_i2c {
	/*	usi_v2_mode = "i2c" or "spi" or "uart"	*/
	status = "disabled";
};

/* USI_4_CMGP */
&usi_4_cmgp {
	/*	usi_v2_mode = "i2c" or "spi" or "uart"	*/
	status = "disabled";
};

/* USI_4_CMGP_I2C */
&usi_4_cmgp_i2c {
	/*	usi_v2_mode = "i2c" or "spi" or "uart"	*/
	status = "disabled";
};

/* USI_PERI_UART */
&usi_peri_uart {
	usi_v2_mode = "uart";
	status = "okay";
};

/* USI_PERI_CAMI2C_0 */
&usi_peri_cami2c_0 {
	usi_v2_mode = "i2c";
	status = "okay";
};

/* USI_PERI_CAMI2C_1 */
&usi_peri_cami2c_1 {
	usi_v2_mode = "i2c";
	status = "okay";
};

/* USI_PERI_CAMI2C_2 */
&usi_peri_cami2c_2 {
	usi_v2_mode = "i2c";
	status = "okay";
};

/* USI_PERI_CAMI2C_3 */
&usi_peri_cami2c_3 {
	usi_v2_mode = "i2c";
	status = "okay";
};

/* USI_PERI_SPI_0 */
&usi_peri_spi_0 {
	usi_v2_mode = "spi";
	status = "okay";
};

/* USI_PERI_SPI_1 */
&usi_peri_spi_1 {
	usi_v2_mode = "spi";
	status = "okay";
};

/* USI_PERI_USI_0 */
&usi_peri_usi_0 {
	/*	usi_v2_mode = "i2c" or "spi" or "uart"	*/
	status = "disabled";
};

/* USI_PERI_USI_0_I2C */
&usi_peri_usi_0_i2c {
	/*	usi_v2_mode = "i2c" or "spi" or "uart"	*/
	status = "disabled";
};

/* USI_PERI_SPI_2 */
&usi_peri_spi_2 {
	usi_v2_mode = "spi";
	status = "okay";
};

&spi_6 {
	status = "okay";
	pinctrl-names = "default";
	pinctrl-0 = <&spi6_bus &spi6_cs_func>;
	/*cs-gpios = <&gpp2 3 0>;*/
	/*gpp2[3]*/
	/*num-cs = <1>;*/
	#address-cells = <1>;
	#size-cells = <0>;
	cs35l41_left: cs35l41@0 {
		compatible = "cirrus,cs35l41";
		reg = <0x0>;

		spi-max-frequency = <9600000>;

		interrupts = <2 0 0>;
		interrupt-controller;
		interrupt-parent = <&gpa0>;
		reset-gpios = <&gpg3 3 0>;
		#sound-dai-cells = <1>;

		VA-supply = <&l42_reg>;
		VP-supply = <&V_SYS>;

		cirrus,boost-peak-milliamp = <4500>;
		cirrus,boost-ind-nanohenry = <1000>;
		cirrus,boost-cap-microfarad = <15>;
		cirrus,asp-sdout-hiz = <0x1>;
		cirrus,gpio-config2 {
			cirrus,gpio-src-select = <0x4>;
			cirrus,gpio-output-enable;
		};

		adsps {
			#address-cells = <1>;
			#size-cells = <0>;
			prince_l_dsp: adsp@2b80000 {
				reg = <0x2b80000>;
				firmware {
					protection_music_aac {
						cirrus,full-name;
						cirrus,wmfw-file = "cs35l41-dsp1-prot.wmfw";
						cirrus,bin-file = "cs35l41-dsp1-spk-prot-music-aac.bin";
					};
					protection_voice_aac {
						cirrus,full-name;
						cirrus,wmfw-file = "cs35l41-dsp1-prot.wmfw";
						cirrus,bin-file = "cs35l41-dsp1-spk-prot-voice-aac.bin";
					};
					protection_ringtone_aac {
						cirrus,full-name;
						cirrus,wmfw-file = "cs35l41-dsp1-prot.wmfw";
						cirrus,bin-file = "cs35l41-dsp1-spk-prot-ringtone-aac.bin";
					};
					protection_notification_aac {
						cirrus,full-name;
						cirrus,wmfw-file = "cs35l41-dsp1-prot.wmfw";
						cirrus,bin-file = "cs35l41-dsp1-spk-prot-notification-aac.bin";
					};
					protection_music_sec {
						cirrus,full-name;
						cirrus,wmfw-file = "cs35l41-dsp1-prot.wmfw";
						cirrus,bin-file = "cs35l41-dsp1-spk-prot-music-sec.bin";
					};
					protection_voice_sec {
						cirrus,full-name;
						cirrus,wmfw-file = "cs35l41-dsp1-prot.wmfw";
						cirrus,bin-file = "cs35l41-dsp1-spk-prot-voice-sec.bin";
					};
					protection_ringtone_sec{
						cirrus,full-name;
						cirrus,wmfw-file = "cs35l41-dsp1-prot.wmfw";
						cirrus,bin-file = "cs35l41-dsp1-spk-prot-ringtone-sec.bin";
					};
					protection_notification_sec {
						cirrus,full-name;
						cirrus,wmfw-file = "cs35l41-dsp1-prot.wmfw";
						cirrus,bin-file = "cs35l41-dsp1-spk-prot-notification-sec.bin";
					};
					calibration {
						cirrus,full-name;
						cirrus,wmfw-file = "cs35l41-dsp1-spk-cali.wmfw";
					};
				};
			};
		};
		controller-data {
			/*cs-gpio = <gpm8 0 0>*/
			/*cs-gpios = <&gpp2 3 0>;*/
			samsung,spi-feedback-delay = <1>;
			samsung,spi-chip-select-mode = <0>;
		};
	};
};

#if 0
&i2c@0 {
	status = "okay";
	compatible = "i2c-gpio";

	pinctrl-names = "default";
	pinctrl-0 = <&amp_sda &amp_scl &amp_ad0 &amp_ad1>;

	gpios = <&gpp2 2 0 /* sda */
		 &gpp2 1 0 /* scl */
		>;

	#address-cells = <1>;
	#size-cells = <0>;

	cs35l41_left: cs35l41@40 {
		compatible = "cirrus,cs35l41";
		reg = <0x40>;

		interrupts = <2 0 0>;
		interrupt-controller;
		interrupt-parent = <&gpa0>;
		reset-gpios = <&gpg3 3 0>;
		#sound-dai-cells = <1>;

		VA-supply = <&l42_reg>;
		VP-supply = <&V_SYS>;

		cirrus,boost-peak-milliamp = <4500>;
		cirrus,boost-ind-nanohenry = <1000>;
		cirrus,boost-cap-microfarad = <15>;
		cirrus,asp-sdout-hiz = <0x1>;
		cirrus,gpio-config2 {
			cirrus,gpio-src-select = <0x4>;
			cirrus,gpio-output-enable;
		};
	};
};
#endif

&spi_9 {
	pinctrl-names = "default";
	pinctrl-0 = <&spi9_bus &spi9_cs_func  &codec_en>;
	status = "okay";
	#address-cells = <1>;
	#size-cells = <0>;
	cs47l35: cs47l35@0 {
		compatible = "cirrus,cs47l35";
		reg = <0x0>;

		spi-max-frequency = <11000000>;

		interrupts = <6 0 0>;
		interrupt-controller;
		#interrupt-cells = <2>;
		interrupt-parent = <&gpa0>;
		gpio-controller;
		#gpio-cells = <2>;
		#sound-dai-cells = <1>;

		/*l42_reg shoulde be change after board fixed*/
		AVDD-supply = <&l42_reg>;
		DBVDD1-supply = <&l42_reg>;
		DBVDD2-supply = <&l42_reg>;
		CPVDD1-supply = <&l42_reg>;
		CPVDD2-supply = <&l44_reg>;
		DCVDD-supply = <&l44_reg>;
		SPKVDD-supply = <&V_SYS>;

		reset-gpios = <&gpg3 2 0>;

		cirrus,dmic-ref = <0 0 0>;
		cirrus,inmode = <
			0 0 0 0 /* IN1 */
			0 0 0 0 /* IN2 */
		>;

	     cirrus,gpsw = <1 0>;

		pinctrl-names = "probe", "active";
		pinctrl-0 = <&codec_reset>;
		pinctrl-1 = <&codec_reset &cs47l35_defaults>;

		madera_pinctrl: madera-pinctrl {
			compatible = "cirrus,madera-pinctrl";
			cs47l35_defaults: cs47l35-gpio-defaults {
				aif1 {
					groups = "aif1";
					function = "aif1";
					bias-bus-hold;
				};

				aif2 {
					groups = "aif2";
					function = "aif2";
					bias-bus-hold;
				};

				aif3 {
					groups = "aif3";
					function = "aif3";
					bias-bus-hold;
				};

				gpio6 { /* Amp Clock */
					groups = "gpio6";
					function = "opclk";
					bias-pull-up;
					output-low;
				};

				gpio5 { /* Mic Polarity Flip */
					groups = "gpio5";
					function = "io";
				};
			};
		};


		micvdd {
			regulator-min-microvolt = <3000000>;
			regulator-max-microvolt = <3000000>;
		};

		MICBIAS1 {
			regulator-min-microvolt = <2800000>;
			regulator-max-microvolt = <2800000>;
			cirrus,ext-cap = <1>;
		};
		MICBIAS1A {
			regulator-active-discharge = <1>;
		};
		MICBIAS1B {
			regulator-active-discharge = <1>;
		};

		MICBIAS2 {
			regulator-min-microvolt = <2800000>;
			regulator-max-microvolt = <2800000>;
			cirrus,ext-cap = <1>;
		};

		MICBIAS2A {
			regulator-active-discharge = <1>;
		};
		MICBIAS2B {
			regulator-active-discharge = <1>;
		};

		cirrus,accdet {
			#address-cells = <1>;
			#size-cells = <0>;

			acc@1 {
				reg = <1>;

				cirrus,micd-configs = <
					0 0 2 0 0
				>;
				cirrus,micd-bias-start-time = <8>;
				cirrus,micd-rate = <6>;
				/*cirrus,micd-pol-gpios = <&cs47l35 4 0>;*/
				cirrus,micd-detect-debounce-ms = <500>;
				/*cirrus,jd-use-jd2;*/
				/*cirrus,micd-clamp-mode = <0x8>;*/
			};
		};

		adsps {
			#address-cells = <1>;
			#size-cells = <0>;
			adsp@0ffe00 {
				reg = <0x0ffe00>;
				firmware {
					ultrasound {
						wlf,wmfw-file = "marley-dsp1-ultrasound.wmfw";
						wlf,bin-file = "marley-dsp1v-ultrasound.bin";
					};
				};
			};
			adsp@17fe00 {
				reg = <0x17fe00>;
				firmware {
					frontend {
						wlf,wmfw-file = "marley-dsp2-aov-frontend.wmfw";
						wlf,bin-file = "marley-dsp2-aov-vrgain.bin";
					};
				};
			};
			adsp@1ffe00 {
				reg = <0x1ffe00>;
				firmware {
					aov {
						wlf,wmfw-file = "marley-dsp3-aov-control.wmfw";
						wlf,bin-file = "marley-dsp3-aov-model.bin";
					};
					ez2record {
						wlf,wmfw-file = "marley-dsp3-ez2-record.wmfw";
						wlf,bin-file = "marley-dsp3-ez2-record.bin";
					};
				};
			};
		};

		controller-data {
			samsung,spi-feedback-delay = <1>;
			samsung,spi-chip-select-mode = <0>;
		};
	};
};
